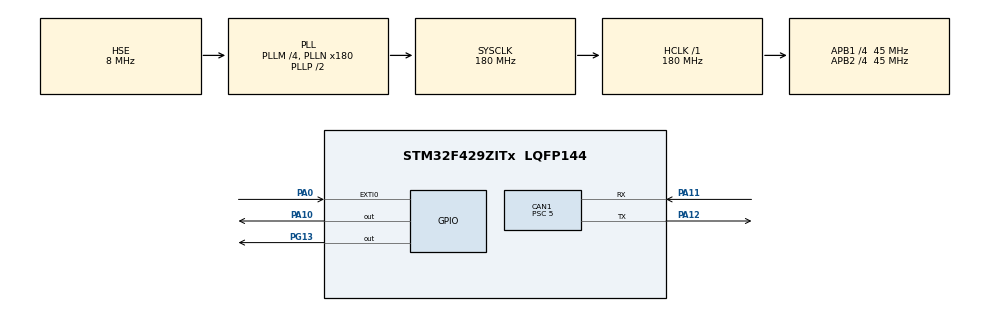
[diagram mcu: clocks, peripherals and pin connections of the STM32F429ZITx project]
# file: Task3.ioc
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CAN1.BS1=CAN_BS1_13TQ
CAN1.BS2=CAN_BS2_4TQ
CAN1.CalculateBaudRate=500000
CAN1.CalculateTimeBit=2000
CAN1.CalculateTimeQuantum=111.11111111111111
CAN1.Prescaler=5
CAN1.TTCM=DISABLE
Mcu.Family=STM32F4
Mcu.Name=STM32F429ZITx
Mcu.Package=LQFP144
NVIC.CAN1_RX0_IRQn=true\:0\:0\:false\:false\:true\:true\:true\:true
NVIC.CAN1_RX1_IRQn=true\:0\:0\:false\:false\:true\:true\:true\:true
NVIC.CAN1_TX_IRQn=true\:0\:0\:false\:false\:true\:true\:true\:true
NVIC.EXTI0_IRQn=true\:0\:0\:false\:false\:true\:true\:true\:true
NVIC.PriorityGroup=NVIC_PRIORITYGROUP_4
PA0/WKUP.Signal=GPXTI0
PA10.Signal=GPIO_Output
PA11.Mode=CAN_Activate
PA11.Signal=CAN1_RX
PA12.Mode=CAN_Activate
PA12.Signal=CAN1_TX
PG13.Signal=GPIO_Output
PH0/OSC_IN.Mode=HSE-External-Oscillator
PH0/OSC_IN.Signal=RCC_OSC_IN
PH1/OSC_OUT.Mode=HSE-External-Oscillator
PH1/OSC_OUT.Signal=RCC_OSC_OUT
ProjectManager.HeapSize=0x200
ProjectManager.StackSize=0x400
ProjectManager.TargetToolchain=EWARM V8.50
RCC.48MHZClocksFreq_Value=90000000
RCC.AHBFreq_Value=180000000
RCC.APB1CLKDivider=RCC_HCLK_DIV4
RCC.APB1Freq_Value=45000000
RCC.APB1TimFreq_Value=90000000
RCC.APB2CLKDivider=RCC_HCLK_DIV4
RCC.APB2Freq_Value=45000000
RCC.APB2TimFreq_Value=90000000
RCC.CortexFreq_Value=180000000
RCC.HCLKFreq_Value=180000000
RCC.HSE_VALUE=8000000
RCC.HSI_VALUE=16000000
RCC.LSE_VALUE=32768
RCC.PLLM=4
RCC.PLLN=180
RCC.PLLSourceVirtual=RCC_PLLSOURCE_HSE
RCC.SYSCLKFreq_VALUE=180000000
RCC.SYSCLKSource=RCC_SYSCLKSOURCE_PLLCLK
RCC.VCOOutputFreq_Value=360000000
board=custom

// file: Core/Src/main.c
/* USER CODE BEGIN Header */
/**
  ******************************************************************************
  * @file           : main.c
  * @brief          : Main program body
  ******************************************************************************
  * @attention
  *
  * Copyright (c) 2023 STMicroelectronics.
  * All rights reserved.
  *
  * This software is licensed under terms that can be found in the LICENSE file
  * in the root directory of this software component.
  * If no LICENSE file comes with this software, it is provided AS-IS.
  *
  ******************************************************************************
  */
/* USER CODE END Header */
#include "main.h"

CAN_HandleTypeDef hcan1;

/* USER CODE BEGIN PV */
CAN_RxHeaderTypeDef RxHeader; //Rx refers as input
CAN_TxHeaderTypeDef TxHeader;
uint32_t mailbox;
uint8_t datarx [8];
uint8_t data [8];
CAN_FilterTypeDef filter; //Set filter for receiving specific ID message
uint32_t error;
/* USER CODE END PV */

void SystemClock_Config(void);
static void MX_GPIO_Init(void);
static void MX_CAN1_Init(void);

int main(void)
{

  /* MCU Configuration--------------------------------------------------------*/

  /* Reset of all peripherals, Initializes the Flash interface and the Systick. */
  HAL_Init();

  /* Configure the system clock */
  SystemClock_Config();

  /* Initialize all configured peripherals */
  MX_GPIO_Init();
  MX_CAN1_Init();
  /* USER CODE BEGIN 2 */
  filter.FilterActivation = CAN_FILTER_ENABLE; //enabling filter
  filter.FilterBank = 0; //0-13
  filter.SlaveStartFilterBank = 0;//0-13
  filter.FilterScale = CAN_FILTERSCALE_16BIT; //16 or 32 bits
  filter.FilterFIFOAssignment = CAN_FILTER_FIFO0; //FIFO 0 or 1
  filter.FilterMode = CAN_FILTERMODE_IDLIST; // List mode
  filter.FilterIdHigh = 0x690 << 5; // First ID

  TxHeader.StdId = 0x440; //maximum 11 bits wide
 TxHeader.DLC = 8; //(Data Length Code) length of the message
 TxHeader.IDE = CAN_ID_STD; //(Identifier Extension) standard
 TxHeader.RTR = CAN_RTR_DATA; //(Remote Transmission Request) type of frame is Data
  //filter.FilterIdLow = 0x4F0 << 5; // Second ID

  HAL_CAN_Start(&hcan1);
  HAL_CAN_ConfigFilter(&hcan1, &filter);
  HAL_CAN_ActivateNotification(&hcan1, CAN_IT_RX_FIFO0_MSG_PENDING);

  /* USER CODE END 2 */

  /* Infinite loop */
  /* USER CODE BEGIN WHILE */
  while (1)
  {
    error = HAL_CAN_AddTxMessage(&hcan1, &TxHeader, data, &mailbox);
    HAL_Delay(5);
  if (error != 0) {
      HAL_GPIO_WritePin(GPIOA, GPIO_PIN_10, GPIO_PIN_SET);
  }
  else{
      HAL_GPIO_WritePin(GPIOA, GPIO_PIN_10, GPIO_PIN_RESET);
  }
    /* USER CODE END WHILE */

  }
}

void SystemClock_Config(void)
{
  RCC_OscInitTypeDef RCC_OscInitStruct = {0};
  RCC_ClkInitTypeDef RCC_ClkInitStruct = {0};

  /** Configure the main internal regulator output voltage
  */
  __HAL_RCC_PWR_CLK_ENABLE();
  __HAL_PWR_VOLTAGESCALING_CONFIG(PWR_REGULATOR_VOLTAGE_SCALE1);

  /** Initializes the RCC Oscillators according to the specified parameters
  * in the RCC_OscInitTypeDef structure.
  */
  RCC_OscInitStruct.OscillatorType = RCC_OSCILLATORTYPE_HSE;
  RCC_OscInitStruct.HSEState = RCC_HSE_ON;
  RCC_OscInitStruct.PLL.PLLState = RCC_PLL_ON;
  RCC_OscInitStruct.PLL.PLLSource = RCC_PLLSOURCE_HSE;
  RCC_OscInitStruct.PLL.PLLM = 4;
  RCC_OscInitStruct.PLL.PLLN = 180;
  RCC_OscInitStruct.PLL.PLLP = RCC_PLLP_DIV2;
  RCC_OscInitStruct.PLL.PLLQ = 4;
  if (HAL_RCC_OscConfig(&RCC_OscInitStruct) != HAL_OK)
  {
    Error_Handler();
  }

  /** Activate the Over-Drive mode
  */
  if (HAL_PWREx_EnableOverDrive() != HAL_OK)
  {
    Error_Handler();
  }

  /** Initializes the CPU, AHB and APB buses clocks
  */
  RCC_ClkInitStruct.ClockType = RCC_CLOCKTYPE_HCLK|RCC_CLOCKTYPE_SYSCLK
                              |RCC_CLOCKTYPE_PCLK1|RCC_CLOCKTYPE_PCLK2;
  RCC_ClkInitStruct.SYSCLKSource = RCC_SYSCLKSOURCE_PLLCLK;
  RCC_ClkInitStruct.AHBCLKDivider = RCC_SYSCLK_DIV1;
  RCC_ClkInitStruct.APB1CLKDivider = RCC_HCLK_DIV4;
  RCC_ClkInitStruct.APB2CLKDivider = RCC_HCLK_DIV4;

  if (HAL_RCC_ClockConfig(&RCC_ClkInitStruct, FLASH_LATENCY_5) != HAL_OK)
  {
    Error_Handler();
  }
}

static void MX_CAN1_Init(void)
{

  hcan1.Instance = CAN1;
  hcan1.Init.Prescaler = 5;
  hcan1.Init.Mode = CAN_MODE_NORMAL;
  hcan1.Init.SyncJumpWidth = CAN_SJW_1TQ;
  hcan1.Init.TimeSeg1 = CAN_BS1_13TQ;
  hcan1.Init.TimeSeg2 = CAN_BS2_4TQ;
  hcan1.Init.TimeTriggeredMode = DISABLE;
  hcan1.Init.AutoBusOff = DISABLE;
  hcan1.Init.AutoWakeUp = DISABLE;
  hcan1.Init.AutoRetransmission = DISABLE;
  hcan1.Init.ReceiveFifoLocked = DISABLE;
  hcan1.Init.TransmitFifoPriority = DISABLE;
  if (HAL_CAN_Init(&hcan1) != HAL_OK)
  {
    Error_Handler();
  }

}

static void MX_GPIO_Init(void)
{
  GPIO_InitTypeDef GPIO_InitStruct = {0};

  /* GPIO Ports Clock Enable */
  __HAL_RCC_GPIOH_CLK_ENABLE();
  __HAL_RCC_GPIOA_CLK_ENABLE();
  __HAL_RCC_GPIOG_CLK_ENABLE();

  /*Configure GPIO pin Output Level */
  HAL_GPIO_WritePin(GPIOA, GPIO_PIN_10, GPIO_PIN_RESET);

  /*Configure GPIO pin Output Level */
  HAL_GPIO_WritePin(GPIOG, GPIO_PIN_13, GPIO_PIN_RESET);

  /*Configure GPIO pin : PA0 */
  GPIO_InitStruct.Pin = GPIO_PIN_0;
  GPIO_InitStruct.Mode = GPIO_MODE_IT_RISING;
  GPIO_InitStruct.Pull = GPIO_NOPULL;
  HAL_GPIO_Init(GPIOA, &GPIO_InitStruct);

  /*Configure GPIO pin : PA10 */
  GPIO_InitStruct.Pin = GPIO_PIN_10;
  GPIO_InitStruct.Mode = GPIO_MODE_OUTPUT_PP;
  GPIO_InitStruct.Pull = GPIO_NOPULL;
  GPIO_InitStruct.Speed = GPIO_SPEED_FREQ_LOW;
  HAL_GPIO_Init(GPIOA, &GPIO_InitStruct);

  /*Configure GPIO pin : PG13 */
  GPIO_InitStruct.Pin = GPIO_PIN_13;
  GPIO_InitStruct.Mode = GPIO_MODE_OUTPUT_PP;
  GPIO_InitStruct.Pull = GPIO_NOPULL;
  GPIO_InitStruct.Speed = GPIO_SPEED_FREQ_LOW;
  HAL_GPIO_Init(GPIOG, &GPIO_InitStruct);

  /* EXTI interrupt init*/
  HAL_NVIC_SetPriority(EXTI0_IRQn, 0, 0);
  HAL_NVIC_EnableIRQ(EXTI0_IRQn);

}

void Error_Handler(void)
{
  __disable_irq();
  while (1)
  {
  }
}
